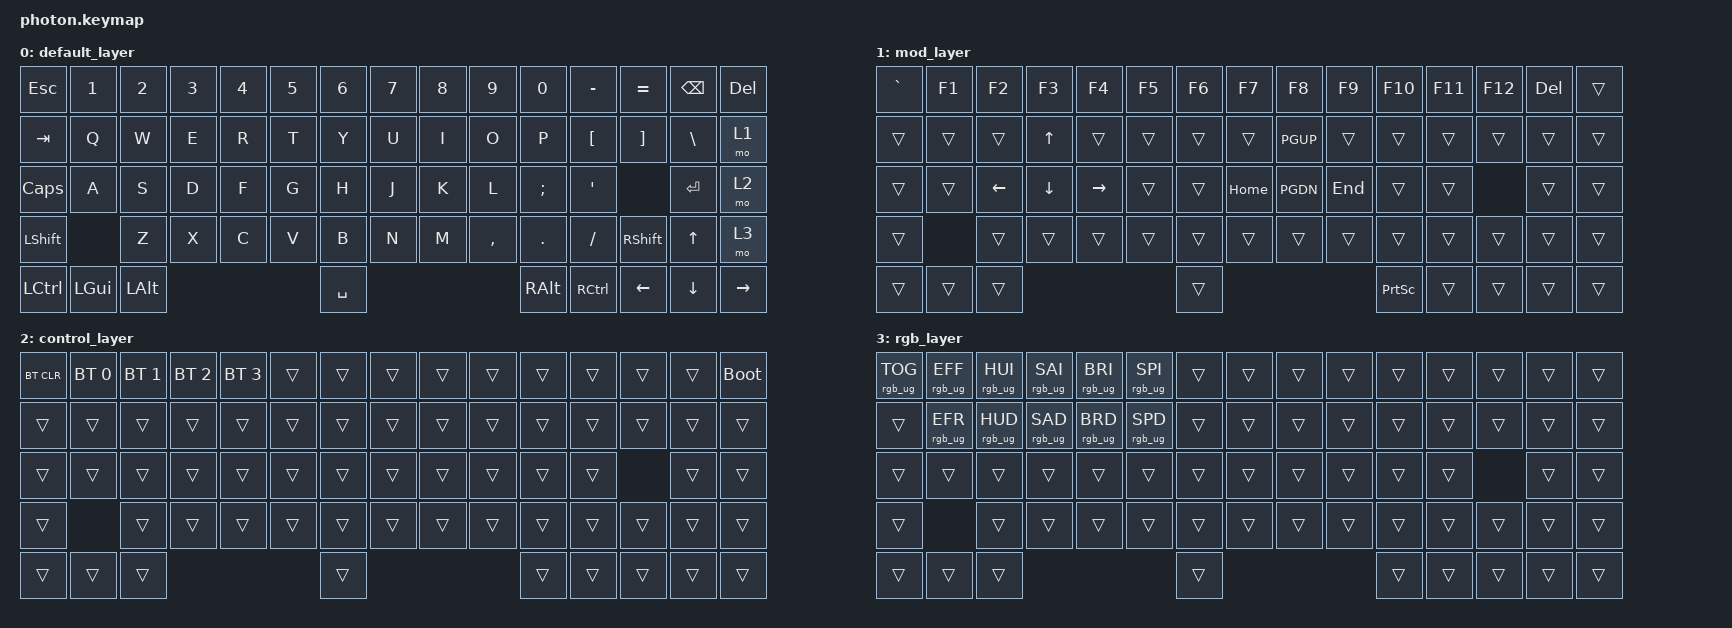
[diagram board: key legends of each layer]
/*
 * Copyright (c) 2024 ai03 Design Studio
 *
 * SPDX-License-Identifier: MIT
 */

#include <behaviors.dtsi>
#include <dt-bindings/zmk/keys.h>
#include <dt-bindings/zmk/rgb.h>
#include <dt-bindings/zmk/bt.h>

/ {
    keymap {
        compatible = "zmk,keymap";

        default_layer {
            bindings = <
    &kp ESC   &kp N1    &kp N2    &kp N3    &kp N4    &kp N5    &kp N6    &kp N7    &kp N8    &kp N9    &kp N0    &kp MINUS &kp EQUAL  &kp BSPC  &kp DEL
    &kp TAB   &kp Q     &kp W     &kp E     &kp R     &kp T     &kp Y     &kp U     &kp I     &kp O     &kp P     &kp LBKT  &kp RBKT   &kp BSLH  &mo 1
    &kp CLCK  &kp A     &kp S     &kp D     &kp F     &kp G     &kp H     &kp J     &kp K     &kp L     &kp SEMI  &kp SQT              &kp RET   &mo 2
    &kp LSHFT           &kp Z     &kp X     &kp C     &kp V     &kp B     &kp N     &kp M     &kp COMMA &kp DOT   &kp FSLH  &kp RSHFT  &kp UP    &mo 3
    &kp LCTRL &kp LGUI  &kp LALT                                &kp SPACE                               &kp RALT  &kp RCTRL &kp LEFT   &kp DOWN  &kp RIGHT
                >;
        };

        mod_layer {
            bindings = <
    &kp GRAVE &kp F1    &kp F2    &kp F3    &kp F4    &kp F5    &kp F6    &kp F7    &kp F8    &kp F9    &kp F10   &kp F11   &kp F12   &kp DEL   &trans  
    &trans    &trans    &trans    &kp UP    &trans    &trans    &trans    &trans    &kp PGUP  &trans    &trans    &trans    &trans    &trans    &trans   
    &trans    &trans    &kp LEFT  &kp DOWN  &kp RIGHT &trans    &trans    &kp HOME  &kp PGDN  &kp END   &trans    &trans              &trans    &trans  
    &trans              &trans    &trans    &trans    &trans    &trans    &trans    &trans    &trans    &trans    &trans    &trans    &trans    &trans  
    &trans    &trans    &trans                                  &trans                                  &kp PSCRN &trans    &trans    &trans    &trans
            >;
        };

        control_layer {
            bindings = <
    &bt BT_CLR   &bt BT_SEL 0 &bt BT_SEL 1 &bt BT_SEL 2 &bt BT_SEL 3 &trans    &trans    &trans    &trans    &trans    &trans    &trans    &trans    &trans    &bootloader 
    &trans       &trans       &trans       &trans       &trans       &trans    &trans    &trans    &trans    &trans    &trans    &trans    &trans    &trans    &trans   
    &trans       &trans       &trans       &trans       &trans       &trans    &trans    &trans    &trans    &trans    &trans    &trans              &trans    &trans  
    &trans                    &trans       &trans       &trans       &trans    &trans    &trans    &trans    &trans    &trans    &trans    &trans    &trans    &trans  
    &trans       &trans       &trans                                           &trans                                  &trans    &trans    &trans    &trans    &trans
            >;
        };

        rgb_layer {
            bindings = <
    &rgb_ug RGB_TOG &rgb_ug RGB_EFF &rgb_ug RGB_HUI &rgb_ug RGB_SAI  &rgb_ug RGB_BRI &rgb_ug RGB_SPI &trans    &trans    &trans    &trans    &trans    &trans    &trans    &trans    &trans   
    &trans          &rgb_ug RGB_EFR &rgb_ug RGB_HUD &rgb_ug RGB_SAD  &rgb_ug RGB_BRD &rgb_ug RGB_SPD &trans    &trans    &trans    &trans    &trans    &trans    &trans    &trans    &trans   
    &trans          &trans          &trans          &trans           &trans          &trans          &trans    &trans    &trans    &trans    &trans    &trans              &trans    &trans  
    &trans                          &trans          &trans           &trans          &trans          &trans    &trans    &trans    &trans    &trans    &trans    &trans    &trans    &trans  
    &trans          &trans          &trans                                                           &trans                                  &trans    &trans    &trans    &trans    &trans
            >;
        };

    };

    combos {
        compatible = "zmk,combos";
        combo_bt {
            timeout-ms = <50>;
            key-positions = <59 68>;
            bindings = <&mo 2>;
        };
    };

};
